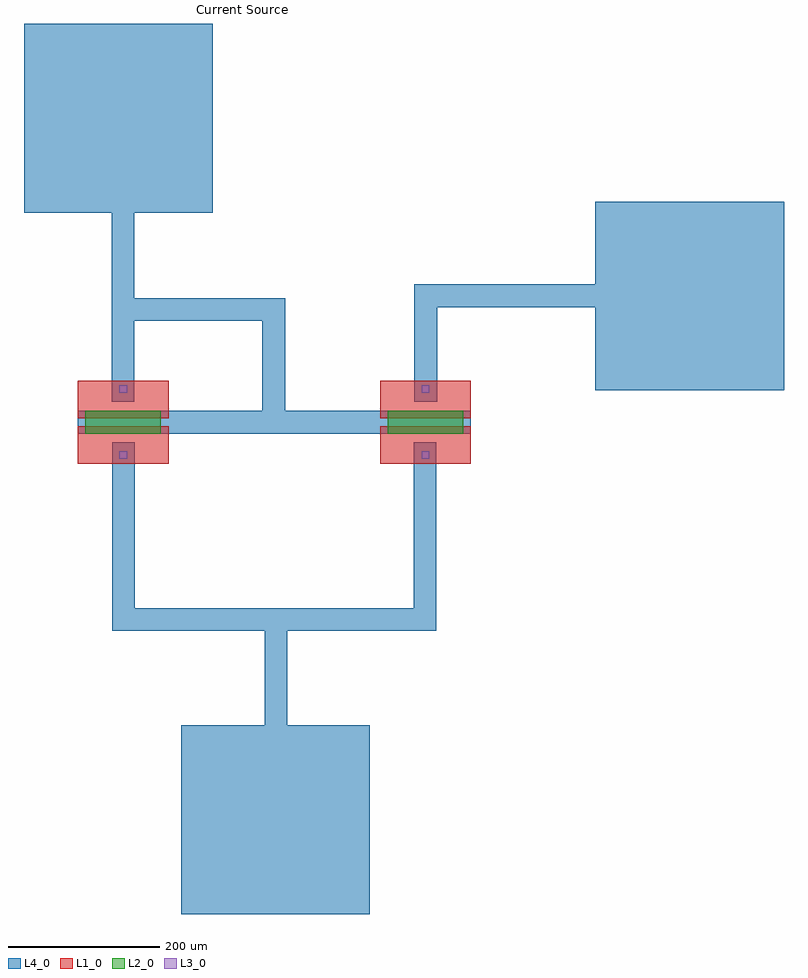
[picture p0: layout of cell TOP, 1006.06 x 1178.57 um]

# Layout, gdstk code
import gdstk
lib = gdstk.Library(unit=1e-6, precision=1e-09)
def R(c, l, rs):  # rectangles x0, y0, x1, y1
    for r in rs: c.add(gdstk.rectangle(r[:2], r[2:], *l))
def A(c, l, x, y, w, h, nx, ny, dx, dy):  # array of equal rectangles
    R(c, l, [(x+i*dx, y+j*dy, x+i*dx+w, y+j*dy+h) for i in range(nx) for j in range(ny)])
L1_0 = (1, 0)
L2_0 = (2, 0)
L3_0 = (3, 0)
L4_0 = (4, 0)

top = lib.new_cell('TOP')
R(top, L1_0, [(1242.397,-6341.052,1362.397,-6291.052), (1242.397,-6341.052,1362.397,-6291.052), (1642.397,-6341.052,1762.397,-6291.052), (1642.397,-6341.052,1762.397,-6291.052), (1242.397,-6281.052,1362.397,-6231.052), (1242.397,-6281.052,1362.397,-6231.052), (1642.397,-6281.052,1762.397,-6231.052), (1642.397,-6281.052,1762.397,-6231.052)])
R(top, L2_0, [(1252.397,-6301.052,1352.397,-6271.052), (1252.397,-6301.052,1352.397,-6271.052), (1652.397,-6301.052,1752.397,-6271.052), (1652.397,-6301.052,1752.397,-6271.052)])
R(top, L3_0, [(1297.397,-6334.554,1307.397,-6324.554), (1297.397,-6334.554,1307.397,-6324.554), (1697.397,-6334.554,1707.397,-6324.554), (1697.397,-6334.554,1707.397,-6324.554), (1297.397,-6247.164,1307.397,-6237.164), (1297.397,-6247.164,1307.397,-6237.164), (1697.397,-6247.164,1707.397,-6237.164), (1697.397,-6247.164,1707.397,-6237.164)])
A(top, L4_0, 1242.397, -6301.052, 130, 30, 4, 1, 130, 0)
R(top, L4_0, [(1379.013,-6937.205,1629.013,-6687.205), (1489.603,-6687.205,1519.603,-6562.205), (1489.603,-6687.205,1519.603,-6562.205), (1287.751,-6562.205,1317.751,-6437.205), (1287.751,-6562.205,1317.751,-6437.205), (1317.751,-6562.205,1447.751,-6532.205), (1447.751,-6562.205,1577.751,-6532.205), (1577.751,-6562.205,1687.043,-6532.205), (1687.043,-6562.205,1717.043,-6437.205), (1687.043,-6562.205,1717.043,-6437.205), (1287.751,-6437.205,1317.751,-6312.205), (1287.751,-6437.205,1317.751,-6312.205), (1687.043,-6437.205,1717.043,-6312.205), (1687.043,-6437.205,1717.043,-6312.205), (1242.397,-6301.052,1372.397,-6271.052), (1632.397,-6301.052,1762.397,-6271.052), (1486.614,-6271.052,1516.614,-6151.63), (1286.981,-6258.634,1316.981,-6133.634), (1286.981,-6258.634,1316.981,-6133.634), (1687.813,-6258.634,1717.813,-6133.634), (1687.813,-6258.634,1717.813,-6133.634), (1927.105,-6243.996,2177.105,-5993.996), (1316.981,-6151.63,1446.981,-6121.63), (1446.981,-6151.63,1516.614,-6121.63), (1286.981,-6133.634,1316.981,-6008.634), (1286.981,-6133.634,1316.981,-6008.634), (1687.813,-6133.634,1817.813,-6103.634), (1817.813,-6133.634,1927.105,-6103.634), (1171.044,-6008.634,1421.044,-5758.634)])
top.add(gdstk.Label('Current Source', (1460.914,-5739.537), layer=4, texttype=0))

lib.write_gds('TOP.gds')
